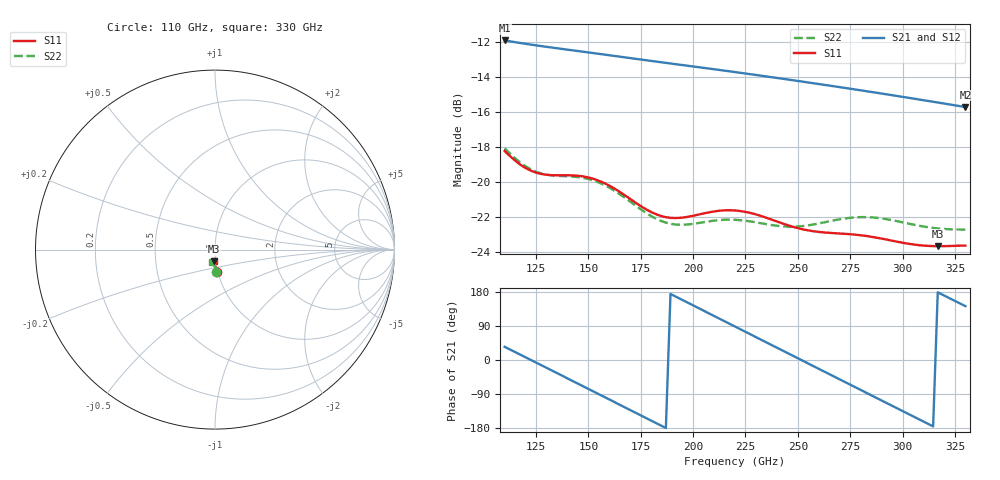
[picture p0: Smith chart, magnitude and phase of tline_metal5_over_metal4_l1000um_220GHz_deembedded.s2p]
! Created with skrf 2.0.1 (http://scikit-rf.org).
# GHz S DB R 50.0
!freq dBS11 angS11 dBS21 angS21 dBS12 angS12 dBS22 angS22
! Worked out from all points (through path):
!   101 points, 110 GHz to 330 GHz, reference 50 ohm
!   highest |S21| = -11.93 dB at 110 GHz (marker M1); lowest = -15.7 dB at 330 GHz (marker M2)
!   group delay of S21, straight-line fit = 7.74 ps
!   lowest |S11| = -23.6 dB at 316.8 GHz (marker M3), VSWR 1.14, Z = 49 - j6.43 ohm
!   |S11| at or under -10 dB: start of sweep to end of sweep
!   |S22| runs from -22.7 to -18.1 dB; largest |S21 - S12| = 1.9e-13
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110  -18.22 -85.7  -11.93 34.9  -11.93 34.9  -18.06 -86.8
118.8  -19.10 -84.5  -12.10 10.5  -12.10 10.5  -19.00 -86.0
127.6  -19.53 -82.4  -12.25 -14.0  -12.25 -14.0  -19.51 -84.1
138.6  -19.60 -82.0  -12.43 -44.5  -12.43 -44.5  -19.66 -83.7
147.4  -19.67 -84.2  -12.57 -69.1  -12.57 -69.1  -19.75 -85.8
156.2  -19.98 -87.4  -12.71 -93.6  -12.71 -93.6  -20.08 -89.0
165  -20.55 -90.0  -12.85 -118.2  -12.85 -118.2  -20.68 -91.7
176  -21.43 -90.5  -13.03 -148.9  -13.03 -148.9  -21.63 -92.4
184.8  -21.93 -88.5  -13.17 -173.4  -13.17 -173.4  -22.21 -90.5
193.6  -22.03 -86.1  -13.31 162.0  -13.31 162.0  -22.42 -87.8
204.6  -21.79 -85.5  -13.48 131.3  -13.48 131.3  -22.29 -86.3
220  -21.61 -89.1  -13.73 88.3  -13.73 88.3  -22.14 -88.1
228.8  -21.80 -91.8  -13.87 63.7  -13.87 63.7  -22.26 -89.6
239.8  -22.23 -93.9  -14.06 33.0  -14.06 33.0  -22.48 -90.2
248.6  -22.57 -94.3  -14.21 8.5  -14.21 8.5  -22.53 -89.9
257.4  -22.79 -94.2  -14.36 -16.0  -14.36 -16.0  -22.41 -89.8
268.4  -22.91 -94.2  -14.56 -46.7  -14.56 -46.7  -22.15 -91.3
277.2  -22.99 -94.9  -14.72 -71.2  -14.72 -71.2  -22.00 -93.7
294.8  -23.33 -96.3  -15.04 -120.2  -15.04 -120.2  -22.16 -99.2
305.8  -23.56 -96.1  -15.25 -150.8  -15.25 -150.8  -22.43 -101.4
316.8  -23.64 -95.5  -15.46 178.7  -15.46 178.7  -22.63 -102.6
330  -23.61 -95.7  -15.72 142.0  -15.72 142.0  -22.70 -104.3
